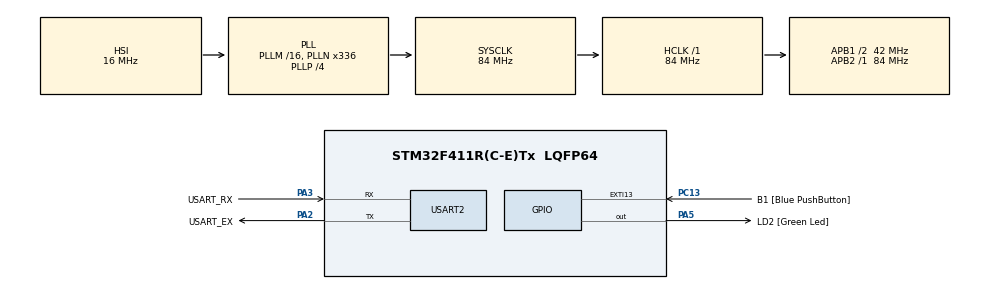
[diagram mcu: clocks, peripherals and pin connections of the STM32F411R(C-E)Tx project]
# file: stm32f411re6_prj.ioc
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Mcu.Family=STM32F4
Mcu.Name=STM32F411R(C-E)Tx
Mcu.Package=LQFP64
NVIC.PriorityGroup=NVIC_PRIORITYGROUP_4
NVIC.TIM2_IRQn=true\:0\:0\:false\:false\:true\:true\:true\:true
NVIC.USART2_IRQn=true\:0\:0\:false\:false\:true\:true\:true\:true
PA13.GPIO_Label=TMS
PA13.Mode=Serial_Wire
PA13.Signal=SYS_JTMS-SWDIO
PA14.GPIO_Label=TCK
PA14.Mode=Serial_Wire
PA14.Signal=SYS_JTCK-SWCLK
PA2.GPIO_Label=USART_EX
PA2.Mode=Asynchronous
PA2.Signal=USART2_TX
PA3.GPIO_Label=USART_RX
PA3.Mode=Asynchronous
PA3.Signal=USART2_RX
PA5.GPIO_Label=LD2 [Green Led]
PA5.Signal=GPIO_Output
PB3.GPIO_Label=SWO
PB3.Signal=SYS_JTDO-SWO
PC13-ANTI_TAMP.GPIO_Label=B1 [Blue PushButton]
PC13-ANTI_TAMP.Signal=GPXTI13
PC14-OSC32_IN.Mode=LSE-External-Oscillator
PC14-OSC32_IN.Signal=RCC_OSC32_IN
PC15-OSC32_OUT.Mode=LSE-External-Oscillator
PC15-OSC32_OUT.Signal=RCC_OSC32_OUT
PH0\ -\ OSC_IN.Mode=HSE-External-Clock-Source
PH0\ -\ OSC_IN.Signal=RCC_OSC_IN
PH1\ -\ OSC_OUT.Mode=HSE-External-Clock-Source
PH1\ -\ OSC_OUT.Signal=RCC_OSC_OUT
ProjectManager.HeapSize=0x200
ProjectManager.StackSize=0x400
ProjectManager.TargetToolchain=STM32CubeIDE
RCC.48MHZClocksFreq_Value=84000000
RCC.AHBFreq_Value=84000000
RCC.APB1CLKDivider=RCC_HCLK_DIV2
RCC.APB1Freq_Value=42000000
RCC.APB1TimFreq_Value=84000000
RCC.APB2Freq_Value=84000000
RCC.APB2TimFreq_Value=84000000
RCC.CortexFreq_Value=84000000
RCC.HCLKFreq_Value=84000000
RCC.HSE_VALUE=8000000
RCC.HSI_VALUE=16000000
RCC.PLLN=336
RCC.PLLP=RCC_PLLP_DIV4
RCC.SYSCLKFreq_VALUE=84000000
RCC.SYSCLKSource=RCC_SYSCLKSOURCE_PLLCLK
RCC.VCOOutputFreq_Value=336000000
TIM2.Period=9999
TIM2.Prescaler=8399
USART2.VirtualMode=VM_ASYNC
VP_TIM2_VS_ClockSourceINT.Mode=Internal
board=custom

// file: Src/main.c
/* USER CODE BEGIN Header */
/**
  ******************************************************************************
  * @file           : main.c
  * @brief          : Main program body
  ******************************************************************************
  * @attention
  *
  * Copyright (c) 2026 STMicroelectronics.
  * All rights reserved.
  *
  * This software is licensed under terms that can be found in the LICENSE file
  * in the root directory of this software component.
  * If no LICENSE file comes with this software, it is provided AS-IS.
  *
  ******************************************************************************
  */
/* USER CODE END Header */
#include "main.h"
#include "tim.h"
#include "usart.h"
#include "gpio.h"

/* USER CODE BEGIN Includes */
#include <stdio.h>
/* USER CODE END Includes */

/* USER CODE BEGIN PD */
#ifdef __GNUC__
  /* With GCC, small printf (option LD Linker->Libraries->Small printf
     set to 'Yes') calls __io_putchar() */
  #define PUTCHAR_PROTOTYPE int __io_putchar(int ch)
#else
  #define PUTCHAR_PROTOTYPE int fputc(int ch, FILE *f)
#endif /* __GNUC__ */
/* USER CODE END PD */

/* USER CODE BEGIN PV */
uint32_t timertick = 0;
bool _1sec_tick = false;
/* USER CODE END PV */

void SystemClock_Config(void);
/* USER CODE BEGIN PFP */
void trace_process(void);
void timertick_process(void);
/* USER CODE END PFP */

int main(void)
{

  /* MCU Configuration--------------------------------------------------------*/

  /* Reset of all peripherals, Initializes the Flash interface and the Systick. */
  HAL_Init();

  /* Configure the system clock */
  SystemClock_Config();

  /* Initialize all configured peripherals */
  MX_GPIO_Init();
  MX_TIM2_Init();
  MX_USART2_UART_Init();
  /* USER CODE BEGIN 2 */
  HAL_TIM_Base_Start_IT(&htim2);
  setvbuf(stdout, NULL, _IONBF, 0);
  /* USER CODE END 2 */

  /* Infinite loop */
  /* USER CODE BEGIN WHILE */
  while (1)
  {
	  trace_process(); /* trace command */
	  timertick_process();
    /* USER CODE END WHILE */

  }
}

void SystemClock_Config(void)
{
  RCC_OscInitTypeDef RCC_OscInitStruct = {0};
  RCC_ClkInitTypeDef RCC_ClkInitStruct = {0};

  /** Configure the main internal regulator output voltage
  */
  __HAL_RCC_PWR_CLK_ENABLE();
  __HAL_PWR_VOLTAGESCALING_CONFIG(PWR_REGULATOR_VOLTAGE_SCALE1);

  /** Initializes the RCC Oscillators according to the specified parameters
  * in the RCC_OscInitTypeDef structure.
  */
  RCC_OscInitStruct.OscillatorType = RCC_OSCILLATORTYPE_HSI;
  RCC_OscInitStruct.HSIState = RCC_HSI_ON;
  RCC_OscInitStruct.HSICalibrationValue = RCC_HSICALIBRATION_DEFAULT;
  RCC_OscInitStruct.PLL.PLLState = RCC_PLL_ON;
  RCC_OscInitStruct.PLL.PLLSource = RCC_PLLSOURCE_HSI;
  RCC_OscInitStruct.PLL.PLLM = 16;
  RCC_OscInitStruct.PLL.PLLN = 336;
  RCC_OscInitStruct.PLL.PLLP = RCC_PLLP_DIV4;
  RCC_OscInitStruct.PLL.PLLQ = 4;
  if (HAL_RCC_OscConfig(&RCC_OscInitStruct) != HAL_OK)
  {
    Error_Handler();
  }

  /** Initializes the CPU, AHB and APB buses clocks
  */
  RCC_ClkInitStruct.ClockType = RCC_CLOCKTYPE_HCLK|RCC_CLOCKTYPE_SYSCLK
                              |RCC_CLOCKTYPE_PCLK1|RCC_CLOCKTYPE_PCLK2;
  RCC_ClkInitStruct.SYSCLKSource = RCC_SYSCLKSOURCE_PLLCLK;
  RCC_ClkInitStruct.AHBCLKDivider = RCC_SYSCLK_DIV1;
  RCC_ClkInitStruct.APB1CLKDivider = RCC_HCLK_DIV2;
  RCC_ClkInitStruct.APB2CLKDivider = RCC_HCLK_DIV1;

  if (HAL_RCC_ClockConfig(&RCC_ClkInitStruct, FLASH_LATENCY_2) != HAL_OK)
  {
    Error_Handler();
  }
}

/* USER CODE BEGIN 4 */
void HAL_TIM_PeriodElapsedCallback(TIM_HandleTypeDef *htim)
{
	if(htim->Instance == TIM2)
	{
		timertick++;

		if ((timertick % 1000) == 0) // every 1000ms(1sec)
	    {
			_1sec_tick = true;
	    }
	}
}

void trace_process(void)
{
	uint8_t data = 0;

	if(usart2_IsEmptyQueue() != true)
	{
		data = usart2_DeQueue();
		if(data == '\r')
		{
			printf("\r\n > ");
		}
		else
		{
			printf("%c", data);
		}
	}
}

void timertick_process(void)
{
	if (_1sec_tick) /* RUN LED */
	{
		_1sec_tick = false;
		HAL_GPIO_TogglePin(GPIOA, GPIO_PIN_5);
	}
}

/**
  * @brief  Retargets the C library printf function to the USART2.
  * @param  None
  * @retval None
  */
PUTCHAR_PROTOTYPE
{
  /* Place your implementation of __io_putchar() here */
  /* e.g. write a character to the usart2 and Loop until the end of transmission */
  HAL_UART_Transmit(&huart2, (uint8_t *)&ch, 1, 0xFFFF);

  return ch;
}
/* USER CODE END 4 */

void Error_Handler(void)
{
  __disable_irq();
  while (1)
  {
  }
}
